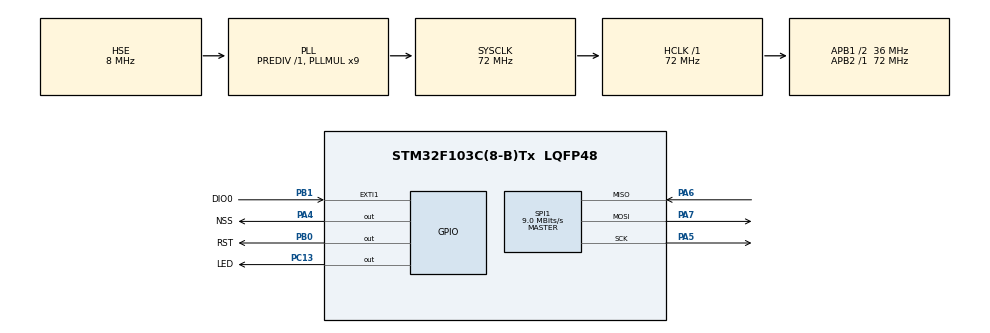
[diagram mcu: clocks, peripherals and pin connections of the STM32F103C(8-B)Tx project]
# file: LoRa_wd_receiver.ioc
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Mcu.Family=STM32F1
Mcu.Name=STM32F103C(8-B)Tx
Mcu.Package=LQFP48
NVIC.EXTI1_IRQn=true\:0\:0\:false\:false\:true\:true\:true\:true
NVIC.PriorityGroup=NVIC_PRIORITYGROUP_4
PA13.Mode=Serial_Wire
PA13.Signal=SYS_JTMS-SWDIO
PA14.Mode=Serial_Wire
PA14.Signal=SYS_JTCK-SWCLK
PA4.GPIO_Label=NSS
PA4.PinState=GPIO_PIN_SET
PA4.Signal=GPIO_Output
PA5.Mode=Full_Duplex_Master
PA5.Signal=SPI1_SCK
PA6.Mode=Full_Duplex_Master
PA6.Signal=SPI1_MISO
PA7.Mode=Full_Duplex_Master
PA7.Signal=SPI1_MOSI
PB0.GPIO_Label=RST
PB0.PinState=GPIO_PIN_SET
PB0.Signal=GPIO_Output
PB1.GPIO_Label=DIO0
PB1.Signal=GPXTI1
PC13-TAMPER-RTC.GPIO_Label=LED
PC13-TAMPER-RTC.Signal=GPIO_Output
PD0-OSC_IN.Mode=HSE-External-Oscillator
PD0-OSC_IN.Signal=RCC_OSC_IN
PD1-OSC_OUT.Mode=HSE-External-Oscillator
PD1-OSC_OUT.Signal=RCC_OSC_OUT
ProjectManager.HeapSize=0x200
ProjectManager.StackSize=0x400
ProjectManager.TargetToolchain=STM32CubeIDE
RCC.AHBFreq_Value=72000000
RCC.APB1CLKDivider=RCC_HCLK_DIV2
RCC.APB1Freq_Value=36000000
RCC.APB1TimFreq_Value=72000000
RCC.APB2Freq_Value=72000000
RCC.APB2TimFreq_Value=72000000
RCC.HCLKFreq_Value=72000000
RCC.PLLMUL=RCC_PLL_MUL9
RCC.PLLSourceVirtual=RCC_PLLSOURCE_HSE
RCC.SYSCLKFreq_VALUE=72000000
RCC.SYSCLKSource=RCC_SYSCLKSOURCE_PLLCLK
RCC.USBFreq_Value=72000000
SPI1.BaudRatePrescaler=SPI_BAUDRATEPRESCALER_8
SPI1.CalculateBaudRate=9.0 MBits/s
SPI1.Direction=SPI_DIRECTION_2LINES
SPI1.Mode=SPI_MODE_MASTER
SPI1.VirtualType=VM_MASTER
board=custom

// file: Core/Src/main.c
/* USER CODE BEGIN Header */
/**
  ******************************************************************************
  * @file           : main.c
  * @brief          : Main program body
  ******************************************************************************
  * @attention
  *
  * Copyright (c) 2024 STMicroelectronics.
  * All rights reserved.
  *
  * This software is licensed under terms that can be found in the LICENSE file
  * in the root directory of this software component.
  * If no LICENSE file comes with this software, it is provided AS-IS.
  *
  ******************************************************************************
  */
/* USER CODE END Header */
#include "main.h"
#include "spi.h"
#include "gpio.h"

/* USER CODE BEGIN Includes */
#include <stdio.h>
#include "SX1278.h"
/* USER CODE END Includes */

/* USER CODE BEGIN PV */
SX1278_hw_t SX1278_hw;
SX1278_t SX1278;

int master;
int ret;

char buffer[512];

int message;
int message_length;

int control_val=0;
/* USER CODE END PV */

void SystemClock_Config(void);

int main(void)
{

  /* MCU Configuration--------------------------------------------------------*/

  /* Reset of all peripherals, Initializes the Flash interface and the Systick. */
  HAL_Init();

  /* Configure the system clock */
  SystemClock_Config();

  /* Initialize all configured peripherals */
  MX_GPIO_Init();
  MX_SPI1_Init();
  /* USER CODE BEGIN 2 */
  // master 0 = slave chyba stacja
  master = 0;

    control_val++;
    //initialize LoRa module
    	SX1278_hw.dio0.port = DIO0_GPIO_Port;
    	SX1278_hw.dio0.pin = DIO0_Pin;
    	SX1278_hw.nss.port = NSS_GPIO_Port;
    	SX1278_hw.nss.pin = NSS_Pin;
    	SX1278_hw.reset.port = RST_GPIO_Port;
    	SX1278_hw.reset.pin = RST_Pin;
    	SX1278_hw.spi = &hspi1;

    	SX1278.hw = &SX1278_hw;

    	control_val++;
    	SX1278_init(&SX1278, 434000000, SX1278_POWER_17DBM, SX1278_LORA_SF_7,
    	SX1278_LORA_BW_125KHZ, SX1278_LORA_CR_4_5, SX1278_LORA_CRC_EN, 10);
    	control_val++;

    	if (master == 1) {
    			ret = SX1278_LoRaEntryTx(&SX1278, 16, 2000);
    			HAL_GPIO_WritePin(LED_GPIO_Port, LED_Pin, GPIO_PIN_SET);

    		} else {
    			ret = SX1278_LoRaEntryRx(&SX1278, 16, 2000);
    			HAL_GPIO_WritePin(LED_GPIO_Port, LED_Pin, GPIO_PIN_RESET);
    		}
  /* USER CODE END 2 */

  /* Infinite loop */
  /* USER CODE BEGIN WHILE */
  while (1)
  {

	  if (master == 1) {

			HAL_Delay(1000);

			message_length = sprintf(buffer, "Hello %d", message);
			ret = SX1278_LoRaEntryTx(&SX1278, message_length, 2000);
			control_val = 0;
			ret = SX1278_LoRaTxPacket(&SX1278, (uint8_t*) buffer,
					message_length, 2000);
			message += 1;

			control_val = -1;
		} else {

			HAL_Delay(800);
			control_val = 0;
			ret = SX1278_LoRaRxPacket(&SX1278);
			printf("Received: %d\r\n", ret);
			if (ret > 0) {
				SX1278_read(&SX1278, (uint8_t*) buffer, ret);
				printf("Content (%d): %s\r\n", ret, buffer);
				control_val = -2;
			}
			control_val = -1;

		}
//	  //change mode
//	  		if (GPIO_PIN_RESET == HAL_GPIO_ReadPin(MODE_GPIO_Port, MODE_Pin)) {
//	  			printf("Changing mode\r\n");
//	  			master = ~master & 0x01;
//	  			if (master == 1) {
//	  				ret = SX1278_LoRaEntryTx(&SX1278, 16, 2000);
//	  				HAL_GPIO_WritePin(LED_GPIO_Port, LED_Pin, GPIO_PIN_SET);
//	  			} else {
//	  				ret = SX1278_LoRaEntryRx(&SX1278, 16, 2000);
//	  				HAL_GPIO_WritePin(LED_GPIO_Port, LED_Pin, GPIO_PIN_RESET);
//	  			}
//	  			HAL_Delay(1000);
//	  			while (GPIO_PIN_RESET == HAL_GPIO_ReadPin(MODE_GPIO_Port, MODE_Pin))
//	  				;
//	  		}
    /* USER CODE END WHILE */

  }
}

void SystemClock_Config(void)
{
  RCC_OscInitTypeDef RCC_OscInitStruct = {0};
  RCC_ClkInitTypeDef RCC_ClkInitStruct = {0};

  /** Initializes the RCC Oscillators according to the specified parameters
  * in the RCC_OscInitTypeDef structure.
  */
  RCC_OscInitStruct.OscillatorType = RCC_OSCILLATORTYPE_HSE;
  RCC_OscInitStruct.HSEState = RCC_HSE_ON;
  RCC_OscInitStruct.HSEPredivValue = RCC_HSE_PREDIV_DIV1;
  RCC_OscInitStruct.HSIState = RCC_HSI_ON;
  RCC_OscInitStruct.PLL.PLLState = RCC_PLL_ON;
  RCC_OscInitStruct.PLL.PLLSource = RCC_PLLSOURCE_HSE;
  RCC_OscInitStruct.PLL.PLLMUL = RCC_PLL_MUL9;
  if (HAL_RCC_OscConfig(&RCC_OscInitStruct) != HAL_OK)
  {
    Error_Handler();
  }

  /** Initializes the CPU, AHB and APB buses clocks
  */
  RCC_ClkInitStruct.ClockType = RCC_CLOCKTYPE_HCLK|RCC_CLOCKTYPE_SYSCLK
                              |RCC_CLOCKTYPE_PCLK1|RCC_CLOCKTYPE_PCLK2;
  RCC_ClkInitStruct.SYSCLKSource = RCC_SYSCLKSOURCE_PLLCLK;
  RCC_ClkInitStruct.AHBCLKDivider = RCC_SYSCLK_DIV1;
  RCC_ClkInitStruct.APB1CLKDivider = RCC_HCLK_DIV2;
  RCC_ClkInitStruct.APB2CLKDivider = RCC_HCLK_DIV1;

  if (HAL_RCC_ClockConfig(&RCC_ClkInitStruct, FLASH_LATENCY_2) != HAL_OK)
  {
    Error_Handler();
  }
}

void Error_Handler(void)
{
  __disable_irq();
  while (1)
  {
  }
}
